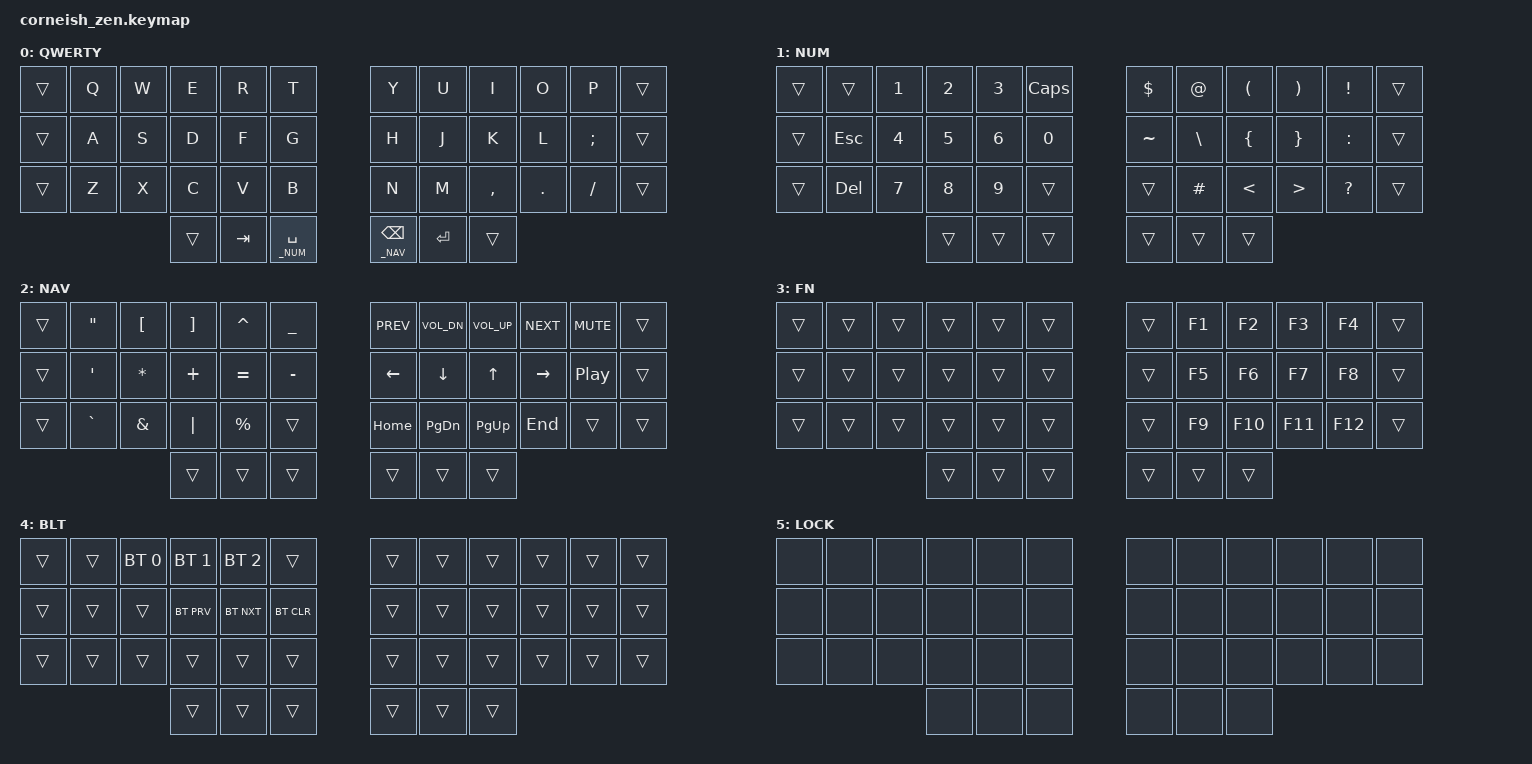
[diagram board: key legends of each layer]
#include <behaviors.dtsi>
#include <dt-bindings/zmk/keys.h>
#include <dt-bindings/zmk/bt.h>

#define _DEF 0
#define _NUM 1
#define _NAV 2
#define _FN  3
#define _BLT 4
#define _LCK 5

/ {
    chosen {
        zmk,physical-layout = &foostan_corne_6col_layout;
        // zmk,physical-layout = &foostan_corne_5col_layout;
    };
};

&lt { 
	quick-tap-ms = <200>; 
};

/ {
	behaviors {
		skl: sticky_key_lazy {
			compatible = "zmk,behavior-sticky-key";
			#binding-cells = <1>;
			bindings = <&kp>;
			release-after-ms = <1000>;
			lazy;
		};

		hskl: hold_sticky_key_lazy {
			compatible = "zmk,behavior-hold-tap";
			#binding-cells = <2>;
			flavor = "hold-preferred";
			tapping-term-ms = <200>;
			bindings = <&kp>, <&skl>;
		};

		td_sf_cp: tap_dance_shift_caps {
			compatible = "zmk,behavior-tap-dance";
			#binding-cells = <0>;
			// TODO: behavior is not consistent, look into it
			// we might need to change quick-tap-ms, flavor or tapping-term-ms 
			// of the underlying hskl behavior. I'd bet on the first
			tapping-term-ms = <300>;
			bindings = <&hskl LSHFT LSHFT>, <&kp CAPS>;
		};
	};

    combos {
		compatible = "zmk,combos";

		// // left mod combos
		// left thumb 1, left home index
		combo_lt1_lhi {
			timeout-ms = <50>;
			key-positions = <37 16>;
			bindings = <&td_sf_cp>;
		};

		// left thumb 1, left home middle
		combo_lt1_lhm {
			timeout-ms = <50>;
			key-positions = <37 15>;
			bindings = <&hskl LGUI LGUI>;
		};

		// left thumb 1, left home ring
		combo_lt1_lhr {
			timeout-ms = <50>;
			key-positions = <37 14>;
			bindings = <&hskl LCTRL LCTRL>;
		};

		// left thumb 1, left home pinky
		combo_lt1_lhp {
			timeout-ms = <50>;
			key-positions = <37 13>;
			bindings = <&hskl LALT LALT>;
		};

		// // right mod combos
		// right thumb 1, right home index
		combo_rt1_rhi {
			timeout-ms = <50>;
			key-positions = <40 19>;
			bindings = <&td_sf_cp>;
		};

		// right thumb 1, right home middle
		combo_rt1_rhm {
			timeout-ms = <50>;
			key-positions = <40 20>;
			bindings = <&hskl LGUI LGUI>;
		};

		// right thumb 1, right home ring
		combo_rt1_rhr {
			timeout-ms = <50>;
			key-positions = <40 21>;
			bindings = <&hskl LCTRL LCTRL>;
		};

		// right thumb 1, right home pinky
		combo_rt1_rhp {
			timeout-ms = <50>;
			key-positions = <40 22>;
			bindings = <&hskl LALT LALT>;
		};

		// // layer combos
		// left thumb 0, left thumb 0
		combo_lt0_lt1 {
			timeout-ms = <50>;
			key-positions = <37 38>;
			bindings = <&mo _FN>;
		};

		// blt_c {
		// 	timeout-ms = <50>;
		// 	key-positions = <40 7>;
		// 	bindings = <&mo _BLT>;
		// };

		lock {
			timeout-ms = <50>;
			key-positions = <37 1 40 10>;
			bindings = <&tog _LCK>;
		};
	};

    keymap {
//        O     P     R     M     I     N         N     I     M     R     P     O
//      ___________________________________     ___________________________________  
//  U  | k0  |     |     |     |     |     | . | k6  |     |     |     |     |     |
//  H  | k12 |     |     |     |     |     | . | k18 |     |     |     |     |     |
//  L  |_k24_|_____|_____|     |     |     | . | k30 |     |     |_____|_____|_____|
//  T                    |_k36_|_____|_____| . |_k39_|_____|_____|
//                          2     1     0         0     1     2
        compatible = "zmk,keymap";

            default_layer {
				display-name = "QWERTY";
//  ___________________________________     ____________________________________
// |     |  Q  |  W  |  E  |  R  |  T  | . |  Y   |  U  |  I  |  O  |  P  |     |
// |     |  A  |  S  |  D  |  F  |  G  | . |  H   |  J  |  K  |  L  |  ;  |     |
// |     |  Z  |  X  |  C  |  V  |  B  | . |  N   |  M  |  ,  |  .  |  /  |     |
//                   |     | TAB | SPC | . | BSPC | RET |     |
                bindings = <
   	&trans  &kp Q  &kp W  &kp E  &kp R  &kp T /**/ &kp Y  &kp U  &kp I      &kp O    &kp P     &trans
   	&trans  &kp A  &kp S  &kp D  &kp F  &kp G /**/ &kp H  &kp J  &kp K      &kp L    &kp SEMI  &trans
   	&trans  &kp Z  &kp X  &kp C  &kp V  &kp B /**/ &kp N  &kp M  &kp COMMA  &kp DOT  &kp FSLH  &trans
   	          &trans  &kp TAB  &lt _NUM SPACE /**/ &lt _NAV BSPC  &kp RET  &trans
                >;
            };

            number_layer {
				display-name = "NUM";
// -----------------------------------------------------------------------------------------
// |     |     |  1  |  2  |  3  | CAPS | . |  $  |  @  |  (  |  )  |  !  |     |
// |     | ESC |  4  |  5  |  6  |  0   | . |  ~  |  \  |  {  |  }  |  :  |     |
// |     | DEL |  7  |  8  |  9  |      | . |     |  #  |  <  |  >  |  ?  |     |
//                   |     |     |      | . |     |     |     |
                bindings = <
   &trans  &trans   &kp N1  &kp N2  &kp N3  &kp CAPS    &kp DLLR   &kp AT    &kp LPAR  &kp RPAR  &kp EXCL   &trans
   &trans  &kp ESC  &kp N4  &kp N5  &kp N6  &kp N0      &kp TILDE  &kp BSLH  &kp LBRC  &kp RBRC  &kp COLON  &trans
   &trans  &kp DEL  &kp N7  &kp N8  &kp N9  &trans      &trans     &kp HASH  &kp LT    &kp GT    &kp QMARK  &trans
                                  &trans  &trans  &trans    &trans  &trans  &trans
                >;
            };

            navigation_layer {
				display-name = "NAV";
// -----------------------------------------------------------------------------------------
// |     |  "  |  [  |  ]  |  ^  |  _  | . | PREV | VDN  | VUP  | NEXT | MUTE |     |
// |     |  '  |  *  |  +  |  =  |  -  | . |  <   |  v   |  ^   |  >   | PLAY |     |
// |     |  `  |  &  |  |  |  %  |     | . | HOME | PGDN | PGUP | END  |      |     |
//                   |     |     |     | . |      |      |      |
                        bindings = <
   &trans  &kp DQT    &kp LBKT  &kp RBKT  &kp CARET  &kp UNDER    &kp C_PREV  &kp C_VOL_DN  &kp C_VOL_UP  &kp C_NEXT  &kp C_MUTE  &trans
   &trans  &kp SQT    &kp STAR  &kp PLUS  &kp EQUAL  &kp MINUS    &kp LEFT    &kp DOWN      &kp UP        &kp RIGHT   &kp C_PP    &trans
   &trans  &kp GRAVE  &kp AMPS  &kp PIPE  &kp PRCNT  &trans       &kp HOME    &kp PG_DN     &kp PG_UP     &kp END     &trans      &trans
                                        &trans  &trans  &trans    &trans  &trans  &trans
                >;
            };

            function_layer {
				display-name = "FN";
//      ___________________________________     ___________________________________  
// k0  |     |     |     |     |     |     | . |     |     |     |     |     |     |
// k12 |     |     |     |     |     |     | . |     |     |     |     |     |     |
// k24 |     |     |     |     |     |     | . |     |     |     |     |     |     |
// k36                   |     |     |     | . |     |     |     |
                bindings = <
   &trans  &trans  &trans  &trans  &trans  &trans /**/ &trans  &kp F1  &kp F2   &kp F3   &kp F4   &trans
   &trans  &trans  &trans  &trans  &trans  &trans /**/ &trans  &kp F5  &kp F6   &kp F7   &kp F8   &trans
   &trans  &trans  &trans  &trans  &trans  &trans /**/ &trans  &kp F9  &kp F10  &kp F11  &kp F12  &trans
                           &trans  &trans  &trans /**/ &trans  &trans  &trans
                >;
            };

            bluetooth_layer {
				display-name = "BLT";
// -----------------------------------------------------------------------------------------
// |     |     | BT0 | BT1 | BT2 |     | . |     |     |     |     |     |     |
// |     |     |     | PRV | NXT | CLR | . |     |     |     |     |     |     |
// |     |     |     |     |     |     | . |     |     |     |     |     |     |
//                   |     |     |     | . |     |     |     |
                bindings = <
   &trans  &trans  &bt BT_SEL 0  &bt BT_SEL 1  &bt BT_SEL 2  &trans        &trans  &trans  &trans  &trans  &trans  &trans
   &trans  &trans  &trans        &bt BT_PRV    &bt BT_NXT    &bt BT_CLR    &trans  &trans  &trans  &trans  &trans  &trans
   &trans  &trans  &trans        &trans        &trans        &trans        &trans  &trans  &trans  &trans  &trans  &trans
                           &trans  &trans  &trans    &trans  &trans  &trans
                >;
            };

            lock_layer {
				display-name = "LOCK";
// -----------------------------------------------------------------------------------------
// |     |     |     |     |     |     | . |     |     |     |     |     |     |
// |     |     |     |     |     |     | . |     |     |     |     |     |     |
// |     |     |     |     |     |     | . |     |     |     |     |     |     |
//                   |     |     |     | . |     |     |     |
            	bindings = <
   &none  &none  &none  &none  &none  &none    &none  &none  &none  &none  &none  &none
   &none  &none  &none  &none  &none  &none    &none  &none  &none  &none  &none  &none
   &none  &none  &none  &none  &none  &none    &none  &none  &none  &none  &none  &none
                        &none  &none  &none    &none  &none  &none
            	>;
        	};

//             template_layer {
// 				display-name = "TEMP";
// //      ___________________________________     ___________________________________  
// // k0  |     |     |     |     |     |     | . |     |     |     |     |     |     |
// // k12 |     |     |     |     |     |     | . |     |     |     |     |     |     |
// // k24 |_____|_____|_____|     |     |     | . |     |     |     |_____|_____|_____|
// // k36                   |_____|_____|_____| . |_____|_____|_____|
//                 bindings = <
//    &trans  &trans  &trans  &trans  &trans  &trans /**/ &trans  &trans  &trans  &trans  &trans  &trans
//    &trans  &trans  &trans  &trans  &trans  &trans /**/ &trans  &trans  &trans  &trans  &trans  &trans
//    &trans  &trans  &trans  &trans  &trans  &trans /**/ &trans  &trans  &trans  &trans  &trans  &trans
//                            &trans  &trans  &trans /**/ &trans  &trans  &trans
//                 >;
//             };
        };
};
